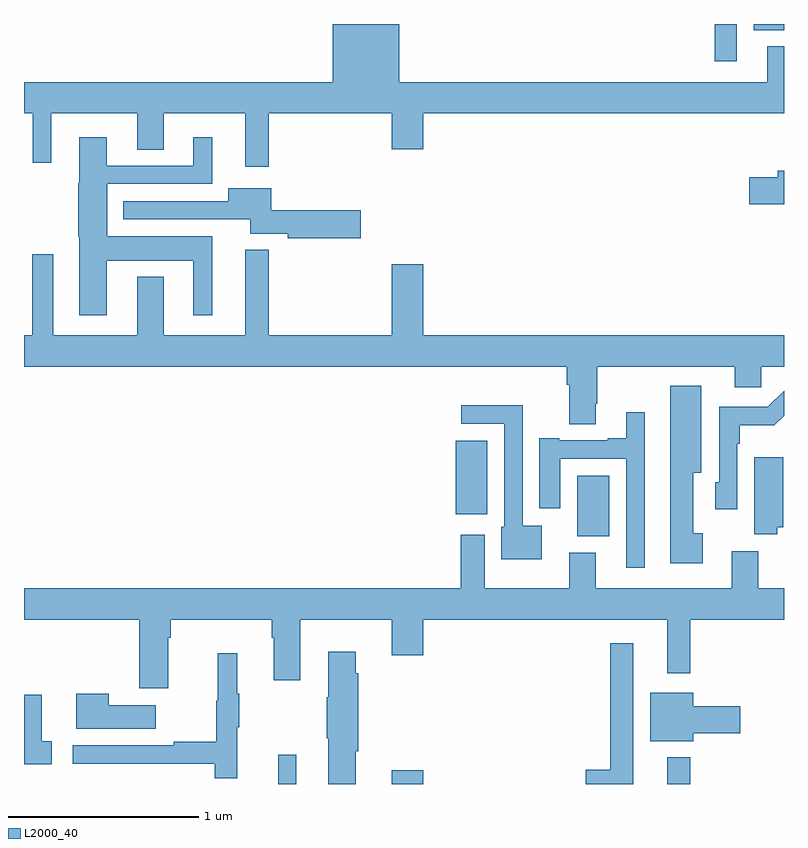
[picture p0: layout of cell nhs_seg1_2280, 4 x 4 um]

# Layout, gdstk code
import gdstk
lib = gdstk.Library(unit=1e-6, precision=1e-09)
def R(c, l, rs):  # rectangles x0, y0, x1, y1
    for r in rs: c.add(gdstk.rectangle(r[:2], r[2:], *l))
def P(c, l, *ps):  # polygons
    for p in ps: c.add(gdstk.Polygon(p, *l))
L2000_40 = (2000, 40)

nhs_seg1_2280 = lib.new_cell('nhs_seg1_2280')
R(nhs_seg1_2280, L2000_40, [(236.337,552.199,236.434,552.352), (236.936,552.199,237.1,552.271), (238.385,552.199,238.507,552.34), (237.911,553.502,238.081,553.822), (237.272,553.619,237.439,554.005), (238.636,556.002,238.752,556.199), (238.841,556.166,239,556.199)])
P(nhs_seg1_2280, L2000_40, [(236.287,555.728),(236.936,555.728),(236.936,555.54),(237.1,555.54),(237.1,555.728),(239,555.728),(239,556.081),(238.913,556.081),(238.913,555.892),(236.974,555.892),(236.974,556.199),(236.624,556.199),(236.624,555.892),(235,555.892),(235,555.728),(235.047,555.728),(235.047,555.468),(235.144,555.468),(235.144,555.728),(235.595,555.728),(235.595,555.538),(235.735,555.538),(235.735,555.728),(236.165,555.728),(236.165,555.447),(236.287,555.447)],
  [(235.435,554.954),(235.892,554.954),(235.892,554.667),(235.99,554.667),(235.99,555.082),(235.438,555.082),(235.438,555.357),(235.99,555.357),(235.99,555.604),(235.892,555.604),(235.892,555.453),(235.435,555.453),(235.435,555.604),(235.292,555.604),(235.292,555.36),(235.285,555.36),(235.285,555.078),(235.292,555.078),(235.292,554.667),(235.435,554.667)],
  [(239,555.427),(238.967,555.427),(238.967,555.393),(238.818,555.393),(238.818,555.251),(239,555.251)],
  [(236.773,555.218),(236.302,555.218),(236.302,555.334),(236.075,555.334),(236.075,555.267),(235.523,555.267),(235.523,555.171),(236.192,555.171),(236.192,555.095),(236.388,555.095),(236.388,555.071),(236.773,555.071)],
  [(238.009,554.2),(238.017,554.2),(238.017,554.396),(238.742,554.396),(238.742,554.286),(238.881,554.286),(238.881,554.396),(239,554.396),(239,554.56),(237.1,554.56),(237.1,554.935),(236.936,554.935),(236.936,554.56),(236.287,554.56),(236.287,555.01),(236.165,555.01),(236.165,554.56),(235.735,554.56),(235.735,554.869),(235.595,554.869),(235.595,554.56),(235.153,554.56),(235.153,554.986),(235.043,554.986),(235.043,554.56),(235,554.56),(235,554.396),(237.857,554.396),(237.857,554.3),(237.869,554.3),(237.869,554.092),(238.009,554.092)],
  [(238.573,553.518),(238.522,553.518),(238.522,553.838),(238.564,553.838),(238.564,554.296),(238.4,554.296),(238.4,553.362),(238.573,553.362)],
  [(238.755,553.991),(238.768,553.991),(238.768,554.087),(238.949,554.087),(239,554.138),(239,554.27),(238.914,554.184),(238.659,554.184),(238.659,553.788),(238.638,553.788),(238.638,553.644),(238.755,553.644)],
  [(237.724,553.558),(237.624,553.558),(237.624,554.192),(237.3,554.192),(237.3,554.094),(237.528,554.094),(237.528,553.554),(237.512,553.554),(237.512,553.382),(237.724,553.382)],
  [(238.267,554.155),(238.169,554.155),(238.169,554.02),(238.073,554.02),(238.073,554.007),(237.817,554.007),(237.817,554.02),(237.713,554.02),(237.713,553.65),(237.823,553.65),(237.823,553.911),(238.17,553.911),(238.17,553.338),(238.267,553.338)],
  [(238.964,553.55),(238.996,553.55),(238.996,553.918),(238.844,553.918),(238.844,553.513),(238.964,553.513)],
  [(235.759,552.968),(235.772,552.968),(235.772,553.064),(236.303,553.064),(236.303,552.968),(236.315,552.968),(236.315,552.744),(236.455,552.744),(236.455,553.064),(236.936,553.064),(236.936,552.876),(237.1,552.876),(237.1,553.064),(238.385,553.064),(238.385,552.783),(238.507,552.783),(238.507,553.064),(239,553.064),(239,553.228),(238.864,553.228),(238.864,553.423),(238.724,553.423),(238.724,553.228),(238.009,553.228),(238.009,553.417),(237.869,553.417),(237.869,553.228),(237.424,553.228),(237.424,553.51),(237.299,553.51),(237.299,553.228),(235,553.228),(235,553.064),(235.607,553.064),(235.607,552.702),(235.759,552.702)],
  [(238.207,552.94),(238.086,552.94),(238.086,552.274),(237.956,552.274),(237.956,552.199),(238.207,552.199)],
  [(236.746,552.372),(236.759,552.372),(236.759,552.782),(236.746,552.782),(236.746,552.895),(236.6,552.895),(236.6,552.656),(236.593,552.656),(236.593,552.439),(236.6,552.439),(236.6,552.199),(236.746,552.199)],
  [(236.123,552.499),(236.134,552.499),(236.134,552.673),(236.123,552.673),(236.123,552.886),(236.02,552.886),(236.02,552.636),(236.013,552.636),(236.013,552.422),(235.789,552.422),(235.789,552.402),(235.257,552.402),(235.257,552.306),(236.005,552.306),(236.005,552.228),(236.123,552.228)],
  [(238.522,552.467),(238.771,552.467),(238.771,552.609),(238.522,552.609),(238.522,552.679),(238.295,552.679),(238.295,552.425),(238.522,552.425)],
  [(235.693,552.613),(235.445,552.613),(235.445,552.673),(235.274,552.673),(235.274,552.491),(235.693,552.491)],
  [(235.147,552.423),(235.094,552.423),(235.094,552.67),(235,552.67),(235,552.303),(235.147,552.303)])

lib.write_gds('nhs_seg1_2280.gds')
